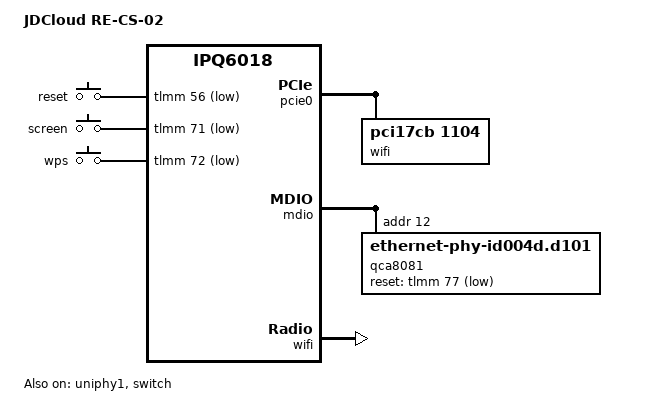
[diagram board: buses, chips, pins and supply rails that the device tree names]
// SPDX-License-Identifier: GPL-2.0-or-later OR MIT

/dts-v1/;

#include "ipq6010-re-cs.dtsi"

/ {
	model = "JDCloud RE-CS-02";
	compatible = "jdcloud,re-cs-02", "qcom,ipq6018";

	aliases {
		label-mac-device = &swport5;
	};

	keys {
		compatible = "gpio-keys";

		reset {
			label = "reset";
			linux,code = <KEY_RESTART>;
			gpios = <&tlmm 56 GPIO_ACTIVE_LOW>;
		};

		screen {
			label = "screen";
			linux,code = <BTN_1>;
			gpios = <&tlmm 71 GPIO_ACTIVE_LOW>;
		};

		wps {
			label = "wps";
			linux,code = <KEY_WPS_BUTTON>;
			gpios = <&tlmm 72 GPIO_ACTIVE_LOW>;
		};
	};
};

&tlmm {
	tmp1628_pins: tmp1628-pins {
		pins = "gpio69", "gpio70", "gpio73", "gpio74";
		function = "gpio";
		drive-strength = <8>;
		bias-pull-down;
	};
};

&pcie0 {
	status = "okay";
	perst-gpios = <&tlmm 53 GPIO_ACTIVE_LOW>;

	pcie@0 {
		wifi@0,0 {
			status = "okay";
			compatible = "pci17cb,1104";
			qcom,ath11k-fw-memory-mode = <1>;
			qcom,calibration-variant = "JDC-RE-CS-02";
			reg = <0x00010000 0 0 0 0>;
		};
	};
};

&mdio {
	qca8081: ethernet-phy@12 {
		compatible = "ethernet-phy-id004d.d101";
		reg = <12>;
		reset-deassert-us = <10000>;
		reset-gpios = <&tlmm 77 GPIO_ACTIVE_LOW>;
	};
};

&uniphy1 {
	status = "okay";
};

&switch {
	status = "okay";

	ports {
		#address-cells = <1>;
		#size-cells = <0>;

		port@0 {
			reg = <0>;
			ethernet = <&edma>;
			phy-mode = "internal";

			fixed-link {
				speed = <1000>;
				full-duplex;
			};
		};

		swport1: port@1 {
			reg = <1>;
			label = "lan1";
			nvmem-cells = <&macaddr_art 1>;
			nvmem-cell-names = "mac-address";
			phy-handle = <&qca8075_24>;
			phy-mode = "psgmii";
			pcs-handle = <&uniphy0 0>;
		};

		swport2: port@2 {
			reg = <2>;
			label = "lan2";
			nvmem-cells = <&macaddr_art 1>;
			nvmem-cell-names = "mac-address";
			phy-handle = <&qca8075_25>;
			phy-mode = "psgmii";
			pcs-handle = <&uniphy0 1>;
		};

		swport3: port@3 {
			reg = <3>;
			label = "lan3";
			nvmem-cells = <&macaddr_art 1>;
			nvmem-cell-names = "mac-address";
			phy-handle = <&qca8075_26>;
			phy-mode = "psgmii";
			pcs-handle = <&uniphy0 2>;
		};

		swport4: port@4 {
			reg = <4>;
			label = "lan4";
			nvmem-cells = <&macaddr_art 1>;
			nvmem-cell-names = "mac-address";
			phy-handle = <&qca8075_27>;
			phy-mode = "psgmii";
			pcs-handle = <&uniphy0 3>;
		};

		swport5: port@5 {
			reg = <5>;
			label = "wan";
			nvmem-cells = <&macaddr_art 0>;
			nvmem-cell-names = "mac-address";
			phy-handle = <&qca8081>;
			phy-mode = "2500base-x";
			pcs-handle = <&uniphy1 0>;
		};
	};
};

&edma {
	status = "okay";
};

&wifi {
	status = "okay";
	qcom,calibration-variant = "JDC-RE-CS-02";
};
